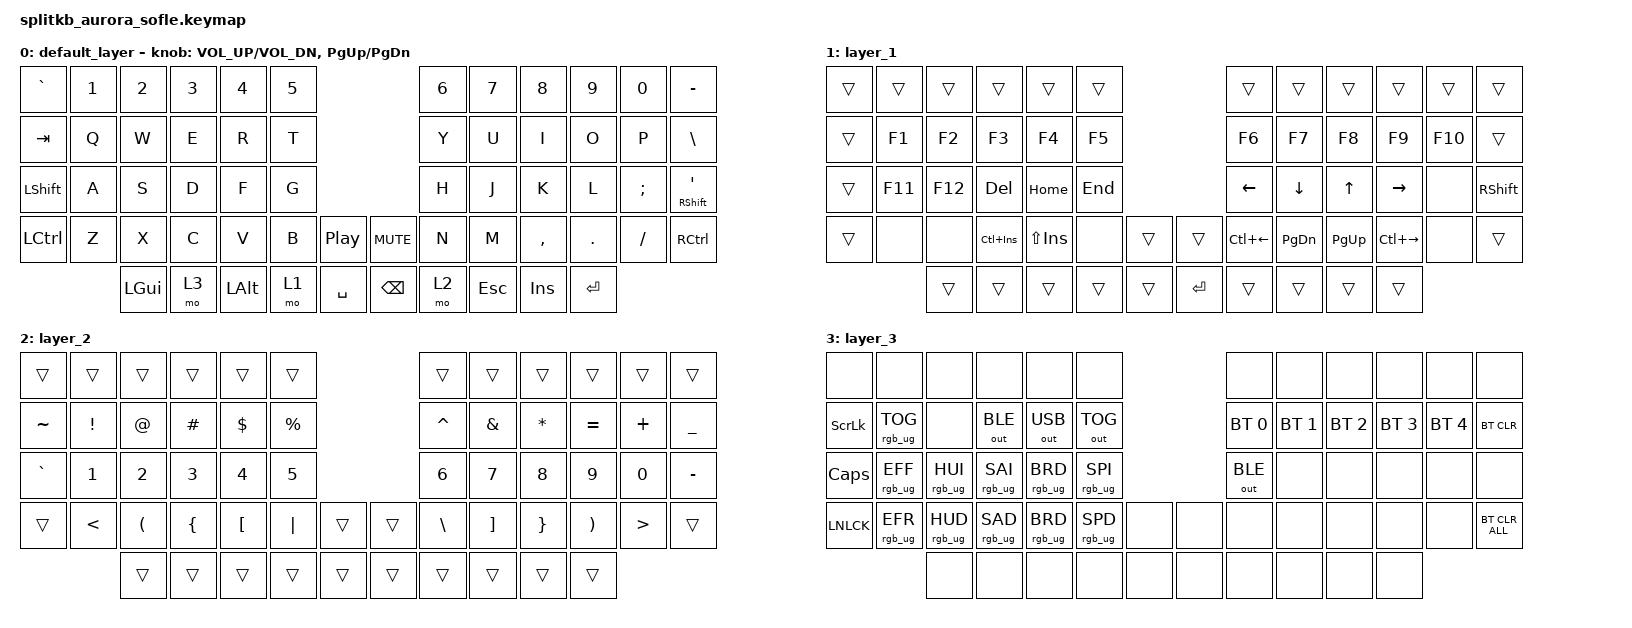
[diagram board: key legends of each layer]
/*
 * Copyright (c) 2023 The ZMK Contributors
 *
 * SPDX-License-Identifier: MIT
 */

#include <behaviors.dtsi>
#include <dt-bindings/zmk/bt.h>
#include <dt-bindings/zmk/keys.h>
#include <dt-bindings/zmk/outputs.h>
#include <dt-bindings/zmk/rgb.h>

/* Uncomment this block if using RGB
&led_strip {
    chain-length = <6>;
    // chain-length = <35>; // Uncomment if using both per-key and underglow LEDs
    // chain-length = <29>; // Uncomment if using only per-key LEDs.
};
 */

/ {
    keymap {
        compatible = "zmk,keymap";

        default_layer {
            // ------------------------------------------------------------------------------------------------------------
            // |  ESC  |  1  |  2  |  3   |  4   |  5   |                   |  6   |  7    |  8    |  9   |   0   |   `   |
            // |  TAB  |  Q  |  W  |  E   |  R   |  T   |                   |  Y   |  U    |  I    |  O   |   P   |   -   |
            // |  CTRL |  A  |  S  |  D   |  F   |  G   |                   |  H   |  J    |  K    |  L   |   ;   |   '   |
            // | SHIFT |  Z  |  X  |  C   |  V   |  B   |   "["  |  |  "]"  |  N   |  M    |  ,    |  .   |   /   | SHIFT |
            //               |CTRL | ALT  | GUI  | LOWER|  SPACE |  | ENTER | RAISE| BSPC  | GUI   | RALT |

            bindings = <
&kp GRAVE  &kp N1  &kp N2    &kp N3  &kp N4    &kp N5                           &kp N6  &kp N7   &kp N8      &kp N9     &kp N0    &kp MINUS
&kp TAB    &kp Q   &kp W     &kp E   &kp R     &kp T                            &kp Y   &kp U    &kp I       &kp O      &kp P     &kp BSLH
&kp LSHFT  &kp A   &kp S     &kp D   &kp F     &kp G                            &kp H   &kp J    &kp K       &kp L      &kp SEMI  &mt RSHFT SQT
&kp LCTRL  &kp Z   &kp X     &kp C   &kp V     &kp B   &kp C_PP     &kp C_MUTE  &kp N   &kp M    &kp COMMA   &kp DOT    &kp FSLH  &kp RCTRL
                   &kp LGUI  &mo 3   &kp LALT  &mo 1   &kp SPACE    &kp BSPC    &mo 2   &kp ESC  &kp INSERT  &kp ENTER
            >;

            sensor-bindings =
                <&inc_dec_kp C_VOL_UP C_VOL_DN>,
                <&inc_dec_kp PG_UP PG_DN>;
        };

        layer_1 {
            bindings = <
&trans  &trans   &trans   &trans       &trans       &trans                        &trans        &trans     &trans     &trans         &trans   &trans
&trans  &kp F1   &kp F2   &kp F3       &kp F4       &kp F5                        &kp F6        &kp F7     &kp F8     &kp F9         &kp F10  &trans
&trans  &kp F11  &kp F12  &kp DEL      &kp HOME     &kp END                       &kp LEFT      &kp DOWN   &kp UP     &kp RIGHT      &none    &kp RSHFT
&trans  &none    &none    &kp LC(INS)  &kp LS(INS)  &none    &trans    &trans     &kp LC(LEFT)  &kp PG_DN  &kp PG_UP  &kp LC(RIGHT)  &none    &trans
                 &trans   &trans       &trans       &trans   &trans    &kp ENTER  &trans        &trans     &trans     &trans
            >;
        };

        layer_2 {
            bindings = <
&trans     &trans    &trans    &trans    &trans    &trans                       &trans     &trans    &trans    &trans     &trans    &trans
&kp TILDE  &kp EXCL  &kp AT    &kp HASH  &kp DLLR  &kp PRCNT                    &kp CARET  &kp AMPS  &kp STAR  &kp EQUAL  &kp PLUS  &kp UNDER
&kp GRAVE  &kp N1    &kp N2    &kp N3    &kp N4    &kp N5                       &kp N6     &kp N7    &kp N8    &kp N9     &kp N0    &kp MINUS
&trans     &kp LT    &kp LPAR  &kp LBRC  &kp LBKT  &kp PIPE   &trans    &trans  &kp BSLH   &kp RBKT  &kp RBRC  &kp RPAR   &kp GT    &trans
                     &trans    &trans    &trans    &trans     &trans    &trans  &trans     &trans    &trans    &trans
            >;
        };

        layer_3 {
            bindings = <
&none      &none            &none            &none            &none            &none                            &none         &none         &none         &none         &none         &none
&kp SLCK   &rgb_ug RGB_TOG  &none            &out OUT_BLE     &out OUT_USB     &out OUT_TOG                     &bt BT_SEL 0  &bt BT_SEL 1  &bt BT_SEL 2  &bt BT_SEL 3  &bt BT_SEL 4  &bt BT_CLR
&kp CAPS   &rgb_ug RGB_EFF  &rgb_ug RGB_HUI  &rgb_ug RGB_SAI  &rgb_ug RGB_BRD  &rgb_ug RGB_SPI                  &out OUT_BLE  &none         &none         &none         &none         &none
&kp LNLCK  &rgb_ug RGB_EFR  &rgb_ug RGB_HUD  &rgb_ug RGB_SAD  &rgb_ug RGB_BRD  &rgb_ug RGB_SPD  &none    &none  &none         &none         &none         &none         &none         &bt BT_CLR_ALL
                            &none            &none            &none            &none            &none    &none  &none         &none         &none         &none
            >;
        };
    };
};
